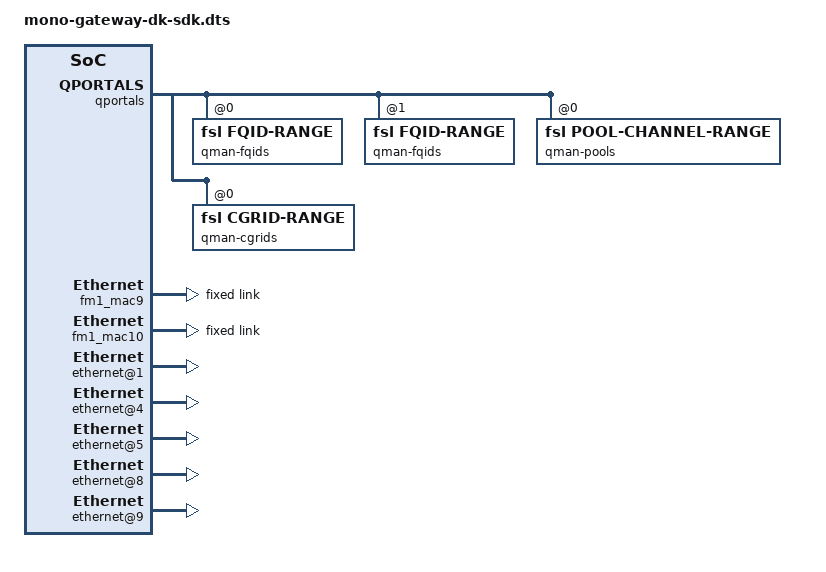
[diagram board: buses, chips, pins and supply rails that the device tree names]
// SPDX-License-Identifier: (GPL-2.0+ OR MIT)
/*
 * SDK Device Tree for Mono Gateway Development Kit (LS1046A)
 *
 * This DTS includes the mainline board DTS and adds SDK-specific
 * nodes required by the NXP SDK DPAA1 ethernet driver stack
 * (sdk_dpaa / sdk_fman) and the ASK fast-path.
 *
 * Key additions:
 *   - fsl,dpa-ethernet nodes for all enabled ports (SDK dpaa_eth driver)
 *   - fsl,dpa-oh offline-port nodes for FMan PCD classifier
 *   - FMan OH port hardware nodes inside &fman0
 *   - fman0-extended-args for FMan FIFO/buffer tuning
 *
 * Build: this DTS is compiled instead of mono-gateway-dk.dts when
 * CONFIG_FSL_SDK_DPAA_ETH=y is set in the kernel config.
 *
 * Copyright 2025 Mono Technologies Inc.
 */

#include "mono-gateway-dk.dts"

/*
 * Reserved-memory compatible strings must match SDK QBMan staging driver.
 * Mainline uses "shared-dma-pool" but SDK RESERVEDMEM_OF_DECLARE matches
 * "fsl,bman-fbpr", "fsl,qman-fqd", "fsl,qman-pfdr".
 * Without these, the SDK driver never gets the memory addresses and
 * qman_init_ccsr() either writes address 0 or fails the BAR mismatch
 * check, leading to a silent hang in qm_init_pfdr() poll loop.
 */
&bman_fbpr {
	compatible = "fsl,bman-fbpr";
};

&qman_fqd {
	compatible = "fsl,qman-fqd";
};

&qman_pfdr {
	compatible = "fsl,qman-pfdr";
};

/*
 * FMan RX/TX port overrides.
 * Mainline uses "fsl,fman-v3-port-rx/tx" only. SDK driver matches
 * "fsl,fman-port-1g-rx", "fsl,fman-port-10g-rx" etc.
 * NXP lf-6.6.y has dual compatible + fsl,qman-channel-id on TX ports.
 * QMan channels: 1G TX = 0x802 + MAC#, 10G TX = 0x800 + 10G#.
 */

/* 1G RX ports — add SDK compatible */
&fman0_rx_0x08 { compatible = "fsl,fman-v3-port-rx", "fsl,fman-port-1g-rx"; };
&fman0_rx_0x09 { compatible = "fsl,fman-v3-port-rx", "fsl,fman-port-1g-rx"; };
&fman0_rx_0x0a { compatible = "fsl,fman-v3-port-rx", "fsl,fman-port-1g-rx"; };
&fman0_rx_0x0b { compatible = "fsl,fman-v3-port-rx", "fsl,fman-port-1g-rx"; };
&fman0_rx_0x0c { compatible = "fsl,fman-v3-port-rx", "fsl,fman-port-1g-rx"; };
&fman0_rx_0x0d { compatible = "fsl,fman-v3-port-rx", "fsl,fman-port-1g-rx"; };

/* 1G TX ports — add SDK compatible + QMan channel */
&fman0_tx_0x28 { compatible = "fsl,fman-v3-port-tx", "fsl,fman-port-1g-tx"; fsl,qman-channel-id = <0x802>; };
&fman0_tx_0x29 { compatible = "fsl,fman-v3-port-tx", "fsl,fman-port-1g-tx"; fsl,qman-channel-id = <0x803>; };
&fman0_tx_0x2a { compatible = "fsl,fman-v3-port-tx", "fsl,fman-port-1g-tx"; fsl,qman-channel-id = <0x804>; };
&fman0_tx_0x2b { compatible = "fsl,fman-v3-port-tx", "fsl,fman-port-1g-tx"; fsl,qman-channel-id = <0x805>; };
&fman0_tx_0x2c { compatible = "fsl,fman-v3-port-tx", "fsl,fman-port-1g-tx"; fsl,qman-channel-id = <0x806>; };
&fman0_tx_0x2d { compatible = "fsl,fman-v3-port-tx", "fsl,fman-port-1g-tx"; fsl,qman-channel-id = <0x807>; };

/* 10G RX ports — add SDK compatible + 10g flag */
&fman0_rx_0x10 { compatible = "fsl,fman-v3-port-rx", "fsl,fman-port-10g-rx"; fsl,fman-10g-port; };
&fman0_rx_0x11 { compatible = "fsl,fman-v3-port-rx", "fsl,fman-port-10g-rx"; fsl,fman-10g-port; };

/* 10G TX ports — add SDK compatible + 10g flag + QMan channel */
&fman0_tx_0x30 { compatible = "fsl,fman-v3-port-tx", "fsl,fman-port-10g-tx"; fsl,fman-10g-port; fsl,qman-channel-id = <0x800>; };
&fman0_tx_0x31 { compatible = "fsl,fman-v3-port-tx", "fsl,fman-port-10g-tx"; fsl,fman-10g-port; fsl,qman-channel-id = <0x801>; };

/*
 * OH port overrides — SDK uses 0-based cell-index (not hardware 2-7).
 * SDK driver checks cell-index < FM_MAX_NUM_OF_OH_PORTS (4 on FMANV3L).
 * Mainline cell-index 6,7 → FAIL. Override to SDK 0-based.
 * Also override compatible from fsl,fman-v3-port-oh to fsl,fman-port-oh.
 *
 * QMan channel IDs from dpaa_integration_ext.h:
 *   FMan0 DCP sub-portals: SP0-SP7 = MACs (0x800-0x807)
 *   SP8-SP11 = OH ports 0-3 (0x808-0x80B)
 *   SP12-SP15 = spare (0x80C-0x80F)
 *
 * Disable OH ports 86000/87000 to avoid cell-index overflow crash.
 */
&fman0_oh_0x2 { cell-index = <0>; compatible = "fsl,fman-port-oh"; fsl,qman-channel-id = <0x808>; };
&fman0_oh_0x3 { cell-index = <1>; compatible = "fsl,fman-port-oh"; fsl,qman-channel-id = <0x809>; };
&fman0_oh_0x4 { cell-index = <2>; compatible = "fsl,fman-port-oh"; fsl,qman-channel-id = <0x80a>; };
&fman0_oh_0x5 { cell-index = <3>; compatible = "fsl,fman-port-oh"; fsl,qman-channel-id = <0x80b>; };
&fman0_oh_0x6 { status = "disabled"; };
&fman0_oh_0x7 { status = "disabled"; };

/*
 * BMan portals need cell-index for SDK QBMan staging driver.
 * Mainline qoriq-bman-portals.dtsi omits this property.
 * Also add BPID allocator range — without this, bman_new_pool()
 * fails because the allocator has no IDs to hand out.
 * Values from NXP qoriq-bman-portals-sdk.dtsi (lf-6.6.y):
 *   BPIDs 32-63 for kernel (0-31 reserved for USDPAA/userspace).
 */
&bportals {
bman-portal@0     { cell-index = <0x0>; };
bman-portal@10000 { cell-index = <0x1>; };
bman-portal@20000 { cell-index = <0x2>; };
bman-portal@30000 { cell-index = <0x3>; };
bman-portal@40000 { cell-index = <0x4>; };
bman-portal@50000 { cell-index = <0x5>; };
bman-portal@60000 { cell-index = <0x6>; };
bman-portal@70000 { cell-index = <0x7>; };
bman-portal@80000 { cell-index = <0x8>; };
bman-portal@90000 { cell-index = <0x9>; };

bman-bpids@0 {
	compatible = "fsl,bpid-range";
	fsl,bpid-range = <32 32>;
};
};

/*
 * QMan portals need FQID, pool-channel, and CGRID allocator ranges.
 * Without these, the SDK dpaa_eth driver cannot allocate frame queues
 * or congestion groups → ethernet probe fails.
 * Values from NXP qoriq-qman-portals-sdk.dtsi (lf-6.6.y).
 */
&qportals {
qman-fqids@0 {
	compatible = "fsl,fqid-range";
	fsl,fqid-range = <256 256>;
};
qman-fqids@1 {
	compatible = "fsl,fqid-range";
	fsl,fqid-range = <32768 32768>;
};
qman-pools@0 {
	compatible = "fsl,pool-channel-range";
	fsl,pool-channel-range = <0x401 0xf>;
};
qman-cgrids@0 {
	compatible = "fsl,cgrid-range";
	fsl,cgrid-range = <0 256>;
};
};

/*
 * FMan extended-args — FIFO sizes and buffer layouts for each port.
 * Placed under /cpus per NXP SDK convention (parsed by sdk_fman early init).
 * The SDK FMan driver reads these to configure port-level FIFO allocation.
 */
/ {
	cpus {
		fman0-extended-args {
			cell-index = <0>;
			compatible = "fsl,fman-extended-args";
			total-fifo-size = <0x3E500>;

fman0_rx0-extended-args {
cell-index = <0>;
compatible = "fsl,fman-port-1g-rx-extended-args";
fifo-size = <0x3200 0x0>;
buffer-layout = <96 64>;
};
			fman0_tx0-extended-args {
				cell-index = <0>;
				compatible = "fsl,fman-port-1g-tx-extended-args";
				fifo-size = <0x3200 0x0>;
				buffer-layout = <96 64>;
			};
fman0_rx1-extended-args {
cell-index = <1>;
compatible = "fsl,fman-port-1g-rx-extended-args";
fifo-size = <0x3200 0x0>;
buffer-layout = <96 64>;
};
			fman0_tx1-extended-args {
				cell-index = <1>;
				compatible = "fsl,fman-port-1g-tx-extended-args";
				fifo-size = <0x3200 0x0>;
				buffer-layout = <96 64>;
			};
fman0_rx2-extended-args {
cell-index = <2>;
compatible = "fsl,fman-port-1g-rx-extended-args";
fifo-size = <0x3200 0x0>;
buffer-layout = <96 64>;
};
			fman0_tx2-extended-args {
				cell-index = <2>;
				compatible = "fsl,fman-port-1g-tx-extended-args";
				fifo-size = <0x3200 0x0>;
				buffer-layout = <96 64>;
			};
fman0_rx3-extended-args {
cell-index = <3>;
compatible = "fsl,fman-port-1g-rx-extended-args";
fifo-size = <0x3200 0x0>;
buffer-layout = <96 64>;
};
			fman0_tx3-extended-args {
				cell-index = <3>;
				compatible = "fsl,fman-port-1g-tx-extended-args";
				fifo-size = <0x3200 0x0>;
				buffer-layout = <96 64>;
			};
fman0_rx4-extended-args {
cell-index = <4>;
compatible = "fsl,fman-port-1g-rx-extended-args";
fifo-size = <0x3200 0x0>;
buffer-layout = <96 64>;
};
			fman0_tx4-extended-args {
				cell-index = <4>;
				compatible = "fsl,fman-port-1g-tx-extended-args";
				fifo-size = <0x3200 0x0>;
				buffer-layout = <96 64>;
			};
fman0_rx5-extended-args {
cell-index = <5>;
compatible = "fsl,fman-port-1g-rx-extended-args";
fifo-size = <0x3200 0x0>;
buffer-layout = <96 64>;
};
			fman0_tx5-extended-args {
				cell-index = <5>;
				compatible = "fsl,fman-port-1g-tx-extended-args";
				fifo-size = <0x3200 0x0>;
				buffer-layout = <96 64>;
			};

fman0_rx6-extended-args {
cell-index = <0>;
compatible = "fsl,fman-port-10g-rx-extended-args";
fifo-size = <0x6000 0x0>;
buffer-layout = <96 64>;
};
			fman0_tx6-extended-args {
				cell-index = <0>;
				compatible = "fsl,fman-port-10g-tx-extended-args";
				fifo-size = <0x4000 0x0>;
				buffer-layout = <96 64>;
			};
fman0_rx7-extended-args {
cell-index = <1>;
compatible = "fsl,fman-port-10g-rx-extended-args";
fifo-size = <0x6000 0x0>;
buffer-layout = <96 64>;
};
			fman0_tx7-extended-args {
				cell-index = <1>;
				compatible = "fsl,fman-port-10g-tx-extended-args";
				fifo-size = <0x4000 0x0>;
				buffer-layout = <96 64>;
			};

			fman0_oh1-extended-args {
				cell-index = <1>;
				compatible = "fsl,fman-port-op-extended-args";
				fifo-size = <0x3200 0x0>;
				buffer-layout = <96 64>;
			};
			fman0_oh2-extended-args {
				cell-index = <2>;
				compatible = "fsl,fman-port-op-extended-args";
				fifo-size = <0x3200 0x0>;
				buffer-layout = <96 64>;
			};
		};
	};
};

/*
 * 10G MAC overrides — remove mainline phylink "managed" property.
 * SDK fsl_mac driver does NOT use the phylink framework. With
 * managed = "in-band-status" present, the driver falls back to
 * of_phy_register_fixed_link() which creates a swphy that can't
 * represent 10G speeds → swphy_read_reg WARNING, PHY never links.
 *
 * HYBRID approach: Keep sfp phandle (inherited from mainline DTS)
 * so the kernel SFP subsystem independently manages the SFP cage
 * hardware (TX_DISABLE GPIO, I2C for rollball PHY init, LOS GPIO,
 * MOD_DEF0 presence detection). The SFP driver operates independently
 * of the MAC driver — it doesn't need phylink callbacks. The MAC
 * driver sees only the fixed-link PHY at 10G XFI rate.
 *
 * This fixes copper SFP-10G-T (rollball PHY) modules which need
 * the SFP driver to deassert TX_DISABLE and initialize the internal
 * RTL8261 PHY via I2C before 10GBASE-T copper negotiation can start.
 * DAC modules work either way (passive, no PHY init needed).
 */
&fm1_mac9 {
/delete-property/ managed;
/* sfp = <&sfp_xfi0> inherited from mainline DTS — SFP driver manages cage */
fixed-link {
speed = <10000>;
full-duplex;
};
};

&fm1_mac10 {
/delete-property/ managed;
/* sfp = <&sfp_xfi1> inherited from mainline DTS — SFP driver manages cage */
fixed-link {
speed = <10000>;
full-duplex;
};
};

/*
 * FMan compatible override — add simple-bus so SDK wrapper auto-probes
 * child nodes. OH port property overrides are above (&fman0_oh_0x2 etc).
 */
&fman0 {
compatible = "fsl,fman", "simple-bus";

/*
 * PCD (Packet Classification & Distribution) sub-engine nodes.
 * The SDK FMan wrapper (lnxwrp_fm.c) searches for these child nodes
 * via HasFmPcdOfNode() to determine whether to initialize the PCD
 * hardware. Without ALL FOUR nodes, pcdActive stays FALSE and the
 * PCD device handle (h_PcdDev) is never created — causing all PCD
 * ioctls from dpa_app/fmc to return EFAULT ("Invalid Handle").
 *
 * Reference: qoriq-fman3-0-sdk.dtsi (NXP lf-6.6.y)
 */
cc {
	compatible = "fsl,fman-cc";
};

policer@c0000 {
	compatible = "fsl,fman-policer";
	reg = <0xc0000 0x1000>;
};

keygen@c1000 {
	compatible = "fsl,fman-keygen";
	reg = <0xc1000 0x1000>;
};

parser@c7000 {
	compatible = "fsl,fman-parser";
	reg = <0xc7000 0x1000>;
};
};

/*
 * SDK DPAA ethernet container — replaces the DPDK-only container.
 *
 * The SDK dpaa_eth driver matches "fsl,dpa-ethernet" and creates
 * kernel netdevs for each port. Each node references its FMan MAC
 * via fsl,fman-mac phandle.
 *
 * Port mapping (physical naming via udev fman-port-name + VyOS hw-id):
 *   ethernet@1 = enet1 = MAC2 (e2000) = right RJ45     (eth2, hw-id 16:01)
 *   ethernet@4 = enet4 = MAC5 (e8000) = left RJ45      (eth0, hw-id 15:ff)
 *   ethernet@5 = enet5 = MAC6 (ea000) = center RJ45    (eth1, hw-id 16:00)
 *   ethernet@8 = enet6 = MAC9 (f0000) = left SFP+ 10G  (eth3, hw-id 16:02)
 *   ethernet@9 = enet7 = MAC10(f2000) = right SFP+ 10G (eth4, hw-id 16:03)
 *
 * FQIDs: auto-allocated by SDK driver (no explicit fsl,qman-frame-queues-rx/tx).
 */
/ {
/* Delete the old DPDK container and replace with SDK */
/delete-node/ dpaa-bpool;
};

&soc {
/delete-node/ fsl,dpaa;

fsldpaa: fsl,dpaa {
compatible = "fsl,ls1046a", "simple-bus", "fsl,dpaa";
fsl,bman = <&bman>;
fsl,qman = <&qman>;

/*
 * Buffer pool for OH ports — required for CC tree classification.
 * Without a buffer pool, FM_PCD_CcRootBuild() hangs forever because
 * the OH port cannot allocate buffers for incoming classified frames.
 * Uses BPID 16 (outside the 32-63 range used by ethernet ports).
 * Buffer size 1728 = 1536 (max frame) + 128 (headroom) + 64 (align).
 */
bp_oh: buffer-pool@16 {
compatible = "fsl,ls1046a-oh-bpool", "fsl,oh-bpool";
fsl,bpid = <16>;
fsl,bpool-ethernet-cfg = <0 0 0 1728 0 0>;
};

/* MAC2 — right RJ45 (1G SGMII, eth2) */
ethernet@1 {
compatible = "fsl,dpa-ethernet";
fsl,fman-mac = <&enet1>;
};

/* MAC5 — left RJ45 (1G SGMII, eth0) */
ethernet@4 {
compatible = "fsl,dpa-ethernet";
fsl,fman-mac = <&enet4>;
};

/* MAC6 — center RJ45 (1G SGMII, eth1) */
ethernet@5 {
compatible = "fsl,dpa-ethernet";
fsl,fman-mac = <&enet5>;
};

		/* MAC9 — left SFP+ (10G XFI) */
		ethernet@8 {
			compatible = "fsl,dpa-ethernet";
			fsl,fman-mac = <&enet6>;
		};

		/* MAC10 — right SFP+ (10G XFI) */
		ethernet@9 {
			compatible = "fsl,dpa-ethernet";
			fsl,fman-mac = <&enet7>;
		};

/*
 * OH port DPA nodes — for ASK PCD classifier flow re-injection.
 * Each OH port needs: fsl,fman-oh-port phandle + FQ pairs +
 * fsl,bman-buffer-pools for CC tree classification buffers.
 * FQ pairs: <rx_fqid count tx_fqid count> — rx receives from
 * PCD classifier, tx re-injects into forwarding path.
 * Using OH ports 1 and 2 (cell-index 1,2 = hardware 0x3,0x4).
 */
dpa-fman0-oh@2 {
compatible = "fsl,dpa-oh";
fsl,qman-frame-queues-oh = <0x60 1 0x61 1>;
fsl,fman-oh-port = <&fman0_oh_0x3>;
fsl,bman-buffer-pools = <&bp_oh>;
};
dpa-fman0-oh@3 {
compatible = "fsl,dpa-oh";
fsl,qman-frame-queues-oh = <0x62 1 0x63 1>;
fsl,fman-oh-port = <&fman0_oh_0x4>;
fsl,bman-buffer-pools = <&bp_oh>;
};
	};
};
